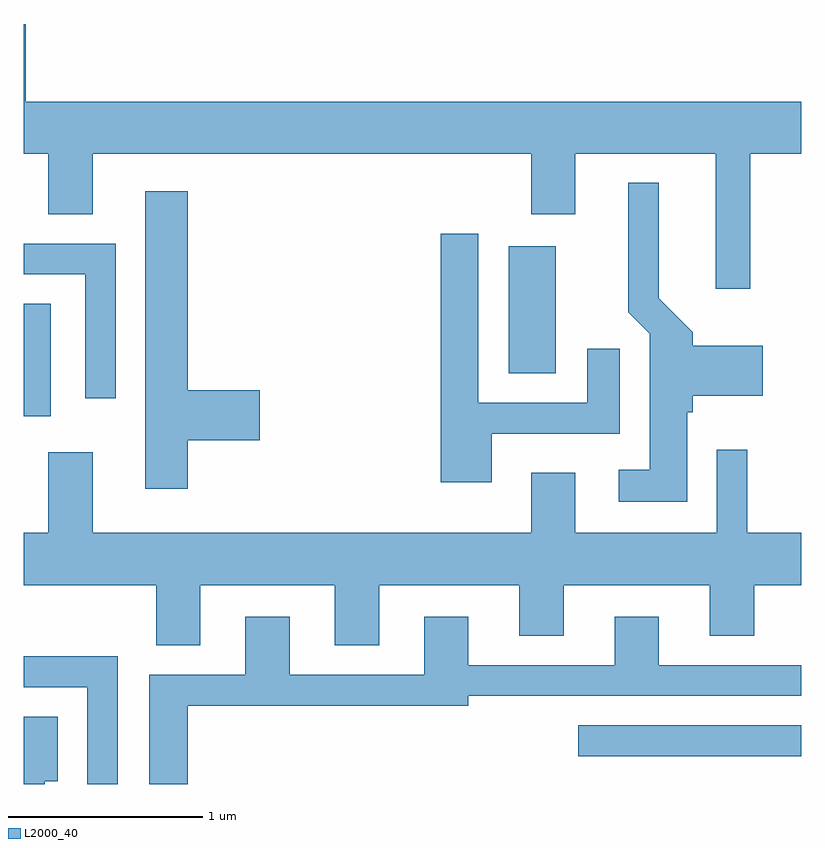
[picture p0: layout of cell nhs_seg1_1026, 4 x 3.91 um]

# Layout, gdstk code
import gdstk
lib = gdstk.Library(unit=1e-6, precision=1e-09)
def R(c, l, rs):  # rectangles x0, y0, x1, y1
    for r in rs: c.add(gdstk.rectangle(r[:2], r[2:], *l))
def P(c, l, *ps):  # polygons
    for p in ps: c.add(gdstk.Polygon(p, *l))
L2000_40 = (2000, 40)

nhs_seg1_1026 = lib.new_cell('nhs_seg1_1026')
R(nhs_seg1_1026, L2000_40, [(220.463,849.856,221.611,850.014), (217.611,851.606,217.749,852.184), (220.106,851.826,220.349,852.479)])
P(nhs_seg1_1026, L2000_40, [(221.349,852.956),(221.611,852.956),(221.611,853.224),(217.619,853.224),(217.619,853.624),(217.611,853.624),(217.611,852.956),(217.736,852.956),(217.736,852.646),(217.964,852.646),(217.964,852.956),(220.221,852.956),(220.221,852.646),(220.449,852.646),(220.449,852.956),(221.171,852.956),(221.171,852.261),(221.349,852.261)],
  [(221.024,851.626),(221.054,851.626),(221.054,851.711),(221.414,851.711),(221.414,851.969),(221.054,851.969),(221.054,852.037),(220.879,852.212),(220.879,852.808),(220.721,852.808),(220.721,852.139),(220.831,852.029),(220.831,851.329),(220.673,851.329),(220.673,851.166),(221.024,851.166)],
  [(218.454,851.481),(218.824,851.481),(218.824,851.739),(218.454,851.739),(218.454,852.764),(218.236,852.764),(218.236,851.231),(218.454,851.231)],
  [(220.019,851.516),(220.679,851.516),(220.679,851.953),(220.511,851.953),(220.511,851.674),(219.949,851.674),(219.949,852.544),(219.756,852.544),(219.756,851.266),(220.019,851.266)],
  [(218.084,852.494),(217.611,852.494),(217.611,852.336),(217.926,852.336),(217.926,851.698),(218.084,851.698)],
  [(218.519,850.736),(219.211,850.736),(219.211,850.426),(219.439,850.426),(219.439,850.736),(220.161,850.736),(220.161,850.476),(220.389,850.476),(220.389,850.736),(221.141,850.736),(221.141,850.476),(221.369,850.476),(221.369,850.736),(221.611,850.736),(221.611,851.004),(221.334,851.004),(221.334,851.433),(221.176,851.433),(221.176,851.004),(220.449,851.004),(220.449,851.314),(220.221,851.314),(220.221,851.004),(217.964,851.004),(217.964,851.419),(217.736,851.419),(217.736,851.004),(217.611,851.004),(217.611,850.736),(218.291,850.736),(218.291,850.426),(218.519,850.426)],
  [(218.454,850.116),(219.899,850.116),(219.899,850.166),(221.611,850.166),(221.611,850.324),(220.879,850.324),(220.879,850.574),(220.651,850.574),(220.651,850.324),(219.899,850.324),(219.899,850.574),(219.671,850.574),(219.671,850.274),(218.979,850.274),(218.979,850.574),(218.751,850.574),(218.751,850.274),(218.256,850.274),(218.256,849.712),(218.454,849.712)],
  [(218.094,850.369),(217.611,850.369),(217.611,850.211),(217.936,850.211),(217.936,849.712),(218.094,849.712)],
  [(217.719,849.726),(217.784,849.726),(217.784,850.059),(217.611,850.059),(217.611,849.712),(217.719,849.712)])

lib.write_gds('nhs_seg1_1026.gds')
